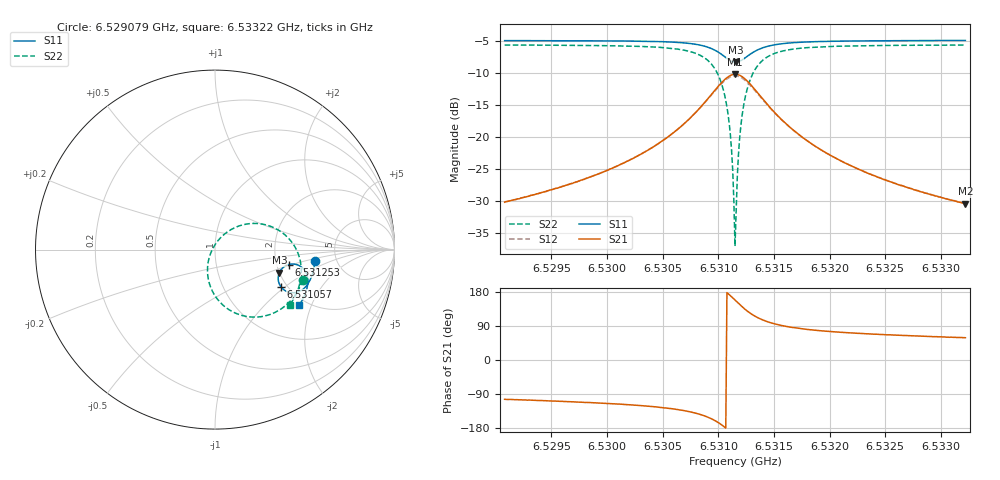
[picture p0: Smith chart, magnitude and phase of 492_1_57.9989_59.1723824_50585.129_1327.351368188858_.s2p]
#  HZ  S  RI  R  50.00
! Rohde & Schwarz Vector Network Analyzer
! Rohde-Schwarz,ZNB20-2Port,1311601062101988,3.16
! Created: UTC 3/21/2024, 1:12:19 AM
! freq[Hz]  re:S11  im:S11  re:S21  im:S21  re:S12  im:S12  re:S22  im:S22
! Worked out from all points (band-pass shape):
!   401 points, 6.529079 GHz to 6.53322 GHz, reference 50 ohm
!   highest |S21| = -10.26 dB at 6.53115 GHz (marker M1); lowest = -30.4 dB at 6.53322 GHz (marker M2)
!   |S21| within 3 dB of the highest: 6.530945 GHz to 6.531358 GHz (413.4 kHz wide, 0.00633 % of centre)
!   lowest |S11| = -8.4 dB at 6.53116 GHz (marker M3), VSWR 2.23, Z = 99.8 - j30.1 ohm
!   |S11| at or under -10 dB: nowhere
!   |S22| runs from -37.0 to -5.7 dB; largest |S21 - S12| = 0.012
!   S11 on the Smith chart (normalised r, x): 6.529079 GHz: 3.42, -0.65; 6.531057 GHz: 1.85, -0.93; 6.531253 GHz: 2.33, -0.47; 6.53322 GHz: 1.82, -1.64
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6.5290792e9  0.557 -0.0652  -0.00732 -0.0301  -0.00799 -0.0301  0.4901 -0.1691
6.5297729e9  0.5462 -0.1229  -0.0168 -0.043  -0.0178 -0.0426  0.4592 -0.2333
6.5304665e9  0.5174 -0.1913  -0.0505 -0.0735  -0.0527 -0.0722  0.3777 -0.3241
6.5307046e9  0.49 -0.2211  -0.0903 -0.0927  -0.093 -0.0897  0.2973 -0.3645
6.5308806e9  0.4464 -0.2398  -0.1583 -0.099  -0.1605 -0.0926  0.1713 -0.3718
6.5309841e9  0.4017 -0.2342  -0.2275 -0.0725  -0.2269 -0.0631  0.0534 -0.3168
6.5310566e9  0.367 -0.2067  -0.2788 -0.014  -0.273 -0.00418  -0.0241 -0.21
6.531098e9  0.3541 -0.1786  -0.2945 0.0391  -0.2858 0.0469  -0.0419 -0.1194
6.5311187e9  0.3521 -0.1622  -0.2953 0.0692  -0.2853 0.0755  -0.0381 -0.0699
6.531129e9  0.3523 -0.1537  -0.2934 0.0844  -0.2829 0.0898  -0.0325 -0.0449
6.5311394e9  0.3534 -0.1452  -0.2898 0.0997  -0.2791 0.1039  -0.0243 -0.0204
6.5311497e9  0.3555 -0.1368  -0.2848 0.1145  -0.274 0.1179  -0.0137 0.00329
6.5311601e9  0.3585 -0.1288  -0.2785 0.1289  -0.2676 0.1313  -0.000978 0.0256
6.5311704e9  0.3622 -0.1211  -0.2706 0.1425  -0.2599 0.1439  0.0141 0.0467
6.5311912e9  0.372 -0.1073  -0.2515 0.1666  -0.2414 0.1662  0.0492 0.0832
6.5312015e9  0.3779 -0.1013  -0.2404 0.1767  -0.2309 0.1758  0.0688 0.0985
6.5312533e9  0.4113 -0.0831  -0.1798 0.2089  -0.1731 0.2057  0.1743 0.1421
6.5313257e9  0.4545 -0.0836  -0.1038 0.2107  -0.1005 0.2076  0.3021 0.1323
6.5314293e9  0.4918 -0.1064  -0.0391 0.1791  -0.0375 0.1774  0.4079 0.0651
6.5318434e9  0.5171 -0.1866  0.0162 0.0861  0.0173 0.0859  0.481 -0.1283
6.532537e9  0.4975 -0.2576  0.018 0.0412  0.0188 0.041  0.4524 -0.2452
6.5332203e9  0.4707 -0.3085  0.0156 0.0258  0.0163 0.0256  0.418 -0.3061
